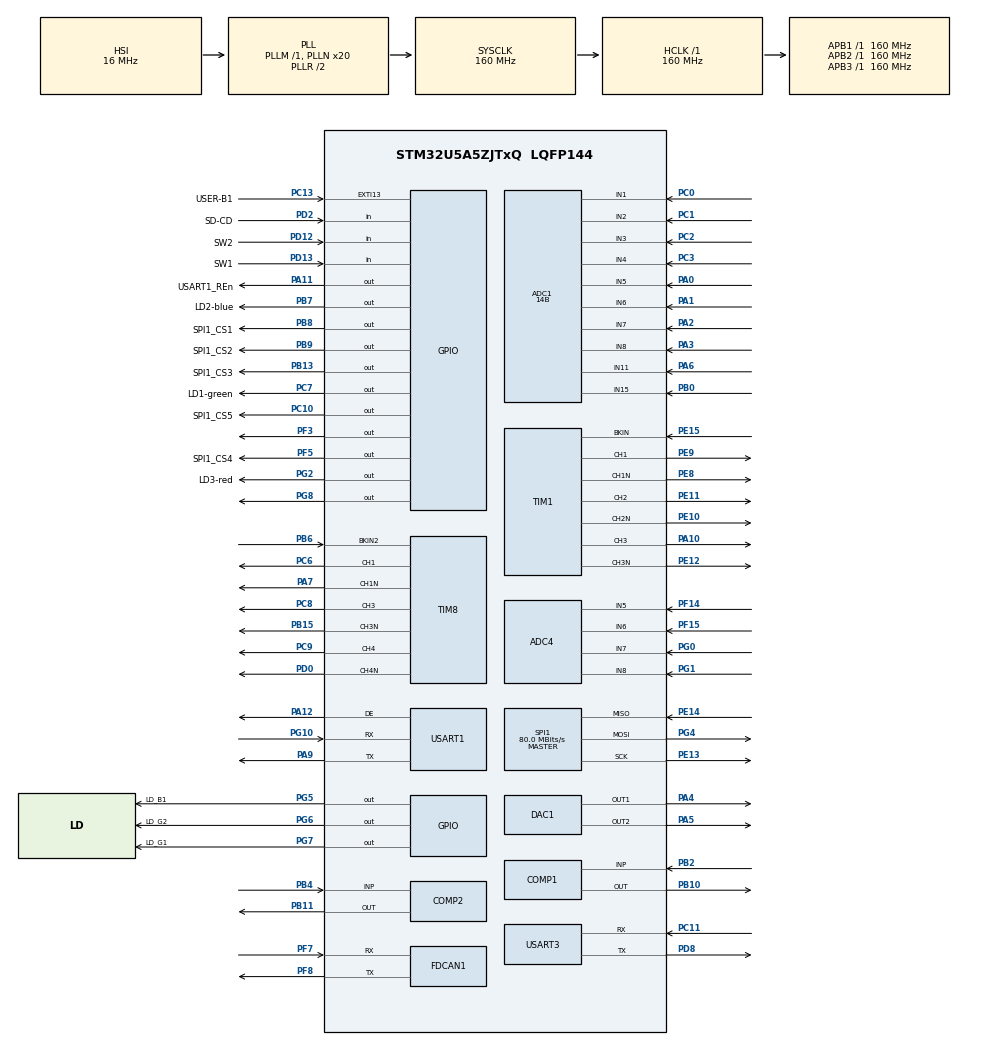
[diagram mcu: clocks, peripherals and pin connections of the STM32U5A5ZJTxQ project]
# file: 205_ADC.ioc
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ADC1.Channel-2\#ChannelRegularConversion=ADC_CHANNEL_1
ADC1.ClockPrescaler=ADC_CLOCK_ASYNC_DIV4
ADC1.ContinuousConvMode=DISABLE
ADC1.ConversionDataManagement=ADC_CONVERSIONDATA_DMA_CIRCULAR
ADC1.EnableInjectedConversion=DISABLE
ADC1.EnableRegularConversion=ENABLE
ADC1.ExternalTrigConv=ADC_EXTERNALTRIG_T3_TRGO
ADC1.MonitoredBy-2\#ChannelRegularConversion=__NULL
ADC1.NbrOfConversionFlag=1
ADC1.OffsetNumber-2\#ChannelRegularConversion=ADC_OFFSET_NONE
ADC1.Rank-2\#ChannelRegularConversion=1
ADC1.Resolution=ADC_RESOLUTION_14B
ADC1.SamplingTime-2\#ChannelRegularConversion=ADC_SAMPLETIME_68CYCLES
ADC1.master=1
ADC4.Channel-0\#ChannelRegularConversion=ADC_CHANNEL_5
ADC4.ClockPrescaler=ADC_CLOCK_ASYNC_DIV4
ADC4.NbrOfConversionFlag=1
ADC4.OffsetNumber-0\#ChannelRegularConversion=ADC_OFFSET_NONE
ADC4.Rank-0\#ChannelRegularConversion=1
ADC4.RankArg-0\#ChannelRegularConversion=ADC4_REGULAR_RANK_1
ADC4.SamplingTime-0\#ChannelRegularConversion=ADC4_SAMPLINGTIME_COMMON_1
ADC4.SelectedChannel=ADC_CHANNEL_5|ADC_CHANNEL_6|ADC_CHANNEL_7|ADC_CHANNEL_8
CORTEX_M33_NS.AccessPermission-Cortex_Memory_Protection_Unit_Region0_Settings=MPU_REGION_PRIV_RO
CORTEX_M33_NS.AccessPermission-Cortex_Memory_Protection_Unit_Region1_Settings=MPU_REGION_ALL_RW
CORTEX_M33_NS.AllocateAttribute0=MPU_R_ALLOCATE
CORTEX_M33_NS.Attributes0=MPU_ATTRIBUTES_NUMBER0
CORTEX_M33_NS.Attributes1=MPU_ATTRIBUTES_NUMBER1
CORTEX_M33_NS.AttributesIndex-Cortex_Memory_Protection_Unit_Region1_Settings=MPU_ATTRIBUTES_NUMBER1
CORTEX_M33_NS.BaseAddress-Cortex_Memory_Protection_Unit_Region0_Settings=0x08000000
CORTEX_M33_NS.BaseAddress-Cortex_Memory_Protection_Unit_Region1_Settings=0x20000000
CORTEX_M33_NS.Enable-Cortex_Memory_Protection_Unit_Region0_Settings=MPU_REGION_ENABLE
CORTEX_M33_NS.Enable-Cortex_Memory_Protection_Unit_Region1_Settings=MPU_REGION_ENABLE
CORTEX_M33_NS.LimitAddress-Cortex_Memory_Protection_Unit_Region0_Settings=0x083FFFFF
CORTEX_M33_NS.LimitAddress-Cortex_Memory_Protection_Unit_Region1_Settings=0x2026FFFF
CORTEX_M33_NS.MPU_Control=MPU_PRIVILEGED_DEFAULT
CORTEX_M33_NS.Memorytype0=MPU_CACHEABLE
CORTEX_M33_NS.Number-Cortex_Memory_Protection_Unit_Region0_Settings=MPU_REGION_NUMBER0
CORTEX_M33_NS.Number-Cortex_Memory_Protection_Unit_Region1_Settings=MPU_REGION_NUMBER1
CORTEX_M33_NS.userName=CORTEX_M33
DAC1.DAC_Channel-DAC_OUT1_ExtAndInt=DAC_CHANNEL_1
DAC1.DAC_Channel-DAC_OUT2_ExtAndInt=DAC_CHANNEL_2
FDCAN1.CalculateBaudRateNominal=3333333
FDCAN1.CalculateTimeBitNominal=300
FDCAN1.CalculateTimeQuantumNominal=100.0
FLASH.B1_BLOCK_active=true
FLASH.B1_endPage=255
FLASH.B2_BLOCK_active=true
FLASH.B2_Bank=FLASH_BANK_2
FLASH.B2_endPage=255
FLASH.OB_Boot_Configuration_active_NS0=true
FLASH.OB_NSBOOTADD0_Address=0x08000000
GPDMA1.CIRCULARMODE_GPDMACH15=ENABLE
GPDMA1.DESTDATAWIDTH_GPDMACH15=DMA_DEST_DATAWIDTH_HALFWORD
GPDMA1.DESTINC_GPDMACH15=DMA_DINC_INCREMENTED
GPDMA1.IPHANDLE_GPDMACH15-SIMPLEREQUEST_GPDMACH15=__NULL
GPDMA1.REQUEST_GPDMACH15=GPDMA1_REQUEST_ADC1
GPDMA1.SRCDATAWIDTH_GPDMACH15=DMA_SRC_DATAWIDTH_HALFWORD
GPDMA1.TRIGGERPOLARITY_GPDMACH15=DMA_TRIG_POLARITY_MASKED
GTZC.MPCBB1_Area_Privilege_Choice=from full Privileged
GTZC.MPCBB1_Area_Privilege_Size=0x000C0000
GTZC.MPCBB1_PrivConfig_array=00000000\:00000000\:00000000\:00000000\:00000000\:00000000\:00000000\:00000000\:00000000\:00000000\:00000000\:00000000\:00000000\:00000000\:00000000\:00000000\:00000000\:00000000\:00000000\:00000000\:00000000\:00000000\:00000000\:00000000\:00000000\:00000000\:00000000\:00000000\:00000000\:00000000\:00000000\:00000000\:00000000\:00000000\:00000000\:00000000\:00000000\:00000000\:00000000\:00000000\:00000000\:00000000\:00000000\:00000000\:00000000\:00000000\:00000000\:00000000
GTZC.MPCBB1_SecConfig_array=00000000\:00000000\:00000000\:00000000\:00000000\:00000000\:00000000\:00000000\:00000000\:00000000\:00000000\:00000000\:00000000\:00000000\:00000000\:00000000\:00000000\:00000000\:00000000\:00000000\:00000000\:00000000\:00000000\:00000000\:00000000\:00000000\:00000000\:00000000\:00000000\:00000000\:00000000\:00000000\:00000000\:00000000\:00000000\:00000000\:00000000\:00000000\:00000000\:00000000\:00000000\:00000000\:00000000\:00000000\:00000000\:00000000\:00000000\:00000000
GTZC.MPCBB2_Area_Privilege_Choice=from full Privileged
GTZC.MPCBB2_Area_Privilege_Size=0x00010000
GTZC.MPCBB2_PrivConfig_array=00000000\:00000000\:00000000\:00000000\:FFFFFFFF\:FFFFFFFF\:FFFFFFFF\:FFFFFFFF\:FFFFFFFF\:FFFFFFFF\:FFFFFFFF\:FFFFFFFF\:FFFFFFFF\:FFFFFFFF\:FFFFFFFF\:FFFFFFFF\:FFFFFFFF\:FFFFFFFF\:FFFFFFFF\:FFFFFFFF\:FFFFFFFF\:FFFFFFFF\:FFFFFFFF\:FFFFFFFF\:FFFFFFFF\:FFFFFFFF\:FFFFFFFF\:FFFFFFFF\:FFFFFFFF\:FFFFFFFF\:FFFFFFFF\:FFFFFFFF\:FFFFFFFF\:FFFFFFFF\:FFFFFFFF\:FFFFFFFF\:FFFFFFFF\:FFFFFFFF\:FFFFFFFF\:FFFFFFFF\:FFFFFFFF\:FFFFFFFF\:FFFFFFFF\:FFFFFFFF\:FFFFFFFF\:FFFFFFFF\:FFFFFFFF\:FFFFFFFF\:FFFFFFFF\:FFFFFFFF\:FFFFFFFF\:FFFFFFFF
GTZC.MPCBB2_SecConfig_array=00000000\:00000000\:00000000\:00000000\:00000000\:00000000\:00000000\:00000000\:00000000\:00000000\:00000000\:00000000\:00000000\:00000000\:00000000\:00000000\:00000000\:00000000\:00000000\:00000000\:00000000\:00000000\:00000000\:00000000\:00000000\:00000000\:00000000\:00000000\:00000000\:00000000\:00000000\:00000000\:00000000\:00000000\:00000000\:00000000\:00000000\:00000000\:00000000\:00000000\:00000000\:00000000\:00000000\:00000000\:00000000\:00000000\:00000000\:00000000\:00000000\:00000000\:00000000\:00000000
GTZC.MPCBB3_Area_Privilege_Choice=from full Privileged
GTZC.MPCBB3_Area_Privilege_Size=0x000D0000
GTZC.MPCBB3_PrivConfig_array=00000000\:00000000\:00000000\:00000000\:00000000\:00000000\:00000000\:00000000\:00000000\:00000000\:00000000\:00000000\:00000000\:00000000\:00000000\:00000000\:00000000\:00000000\:00000000\:00000000\:00000000\:00000000\:00000000\:00000000\:00000000\:00000000\:00000000\:00000000\:00000000\:00000000\:00000000\:00000000\:00000000\:00000000\:00000000\:00000000\:00000000\:00000000\:00000000\:00000000\:00000000\:00000000\:00000000\:00000000\:00000000\:00000000\:00000000\:00000000\:00000000\:00000000\:00000000\:00000000
GTZC.MPCBB3_SecConfig_array=00000000\:00000000\:00000000\:00000000\:00000000\:00000000\:00000000\:00000000\:00000000\:00000000\:00000000\:00000000\:00000000\:00000000\:00000000\:00000000\:00000000\:00000000\:00000000\:00000000\:00000000\:00000000\:00000000\:00000000\:00000000\:00000000\:00000000\:00000000\:00000000\:00000000\:00000000\:00000000\:00000000\:00000000\:00000000\:00000000\:00000000\:00000000\:00000000\:00000000\:00000000\:00000000\:00000000\:00000000\:00000000\:00000000\:00000000\:00000000\:00000000\:00000000\:00000000\:00000000
GTZC.MPCBB4_PrivConfig_array=00000000
GTZC.MPCBB4_SecConfig_array=00000000
GTZC.MPCBB5_Area_Privilege_Choice=from full Privileged
GTZC.MPCBB5_Area_Privilege_Size=0x000D0000
GTZC.MPCBB5_PrivConfig_array=00000000\:00000000\:00000000\:00000000\:00000000\:00000000\:00000000\:00000000\:00000000\:00000000\:00000000\:00000000\:00000000\:00000000\:00000000\:00000000\:00000000\:00000000\:00000000\:00000000\:00000000\:00000000\:00000000\:00000000\:00000000\:00000000\:00000000\:00000000\:00000000\:00000000\:00000000\:00000000\:00000000\:00000000\:00000000\:00000000\:00000000\:00000000\:00000000\:00000000\:00000000\:00000000\:00000000\:00000000\:00000000\:00000000\:00000000\:00000000\:00000000\:00000000\:00000000\:00000000
GTZC.MPCBB5_SecConfig_array=00000000\:00000000\:00000000\:00000000\:00000000\:00000000\:00000000\:00000000\:00000000\:00000000\:00000000\:00000000\:00000000\:00000000\:00000000\:00000000\:00000000\:00000000\:00000000\:00000000\:00000000\:00000000\:00000000\:00000000\:00000000\:00000000\:00000000\:00000000\:00000000\:00000000\:00000000\:00000000\:00000000\:00000000\:00000000\:00000000\:00000000\:00000000\:00000000\:00000000\:00000000\:00000000\:00000000\:00000000\:00000000\:00000000\:00000000\:00000000\:00000000\:00000000\:00000000\:00000000
Mcu.Family=STM32U5
Mcu.Name=STM32U5A5ZJTxQ
Mcu.Package=LQFP144
NVIC.ADC1_2_IRQn=true\:0\:0\:false\:false\:true\:true\:true\:true
NVIC.EXTI13_IRQn=true\:2\:0\:true\:false\:true\:true\:true\:true
NVIC.GPDMA1_Channel15_IRQn=true\:0\:0\:false\:false\:true\:false\:true\:true
NVIC.PriorityGroup=NVIC_PRIORITYGROUP_4
NVIC.TIM3_IRQn=true\:1\:0\:true\:false\:true\:true\:true\:true
PA0.Mode=IN5-Single-Ended
PA0.Signal=ADC1_IN5
PA1.Mode=IN6-Single-Ended
PA1.Signal=ADC1_IN6
PA10.Signal=S_TIM1_CH3
PA11.GPIO_Label=USART1_REn
PA11.Signal=GPIO_Output
PA12.Mode=Hardware Flow Control (RS485)
PA12.Signal=USART1_DE
PA13\ (JTMS/SWDIO).Mode=Trace_Asynchronous_SW
PA13\ (JTMS/SWDIO).Signal=DEBUG_JTMS-SWDIO
PA14\ (JTCK/SWCLK).Mode=Trace_Asynchronous_SW
PA14\ (JTCK/SWCLK).Signal=DEBUG_JTCK-SWCLK
PA2.Mode=IN7-Single-Ended
PA2.Signal=ADC1_IN7
PA3.Mode=IN8-Single-Ended
PA3.Signal=ADC1_IN8
PA4.Signal=COMP_DAC11_group
PA5.Signal=COMP_DAC12_group
PA6.Mode=IN11-Single-Ended
PA6.Signal=ADC1_IN11
PA7.Mode=PWM Generation1 CH1 CH1N
PA7.Signal=TIM8_CH1N
PA9.Mode=Asynchronous
PA9.Signal=USART1_TX
PB0.Mode=IN15-Single-Ended
PB0.Signal=ADC1_IN15
PB10.Mode=ExternalOutput
PB10.Signal=COMP1_OUT
PB11.Mode=ExternalOutput
PB11.Signal=COMP2_OUT
PB13.GPIO_Label=SPI1_CS3
PB13.Signal=GPIO_Output
PB15.Mode=PWM Generation3 CH3 CH3N
PB15.Signal=TIM8_CH3N
PB2.Mode=INP
PB2.Signal=COMP1_INP
PB3\ (JTDO/TRACESWO).Mode=Trace_Asynchronous_SW
PB3\ (JTDO/TRACESWO).Signal=DEBUG_JTDO-SWO
PB4\ (NJTRST).Mode=INP
PB4\ (NJTRST).Signal=COMP2_INP
PB6.Mode=Activate-Break-Input-2
PB6.Signal=TIM8_BKIN2
PB7.GPIO_Label=LD2-blue
PB7.Signal=GPIO_Output
PB8.GPIO_Label=SPI1_CS1
PB8.Signal=GPIO_Output
PB9.GPIO_Label=SPI1_CS2
PB9.Signal=GPIO_Output
PC0.Mode=IN1-Single-Ended
PC0.Signal=ADC1_IN1
PC1.Mode=IN2-Single-Ended
PC1.Signal=ADC1_IN2
PC10.GPIO_Label=SPI1_CS5
PC10.Signal=GPIO_Output
PC11.Mode=Asynchronous
PC11.Signal=USART3_RX
PC13.GPIO_Label=USER-B1
PC13.GPIO_PuPd=GPIO_NOPULL
PC13.Signal=GPXTI13
PC14-OSC32_IN\ (PC14).Mode=LSE-External-Oscillator
PC14-OSC32_IN\ (PC14).Signal=RCC_OSC32_IN
PC15-OSC32_OUT\ (PC15).Mode=LSE-External-Oscillator
PC15-OSC32_OUT\ (PC15).Signal=RCC_OSC32_OUT
PC2.Mode=IN3-Single-Ended
PC2.Signal=ADC1_IN3
PC3.Mode=IN4-Single-Ended
PC3.Signal=ADC1_IN4
PC6.Signal=S_TIM8_CH1
PC7.GPIO_Label=LD1-green
PC7.Signal=GPIO_Output
PC8.Signal=S_TIM8_CH3
PC9.Signal=S_TIM8_CH4
PD0.Mode=PWM Generation4 CH4 CH4N
PD0.Signal=TIM8_CH4N
PD12.GPIO_Label=SW2
PD12.Signal=GPIO_Input
PD13.GPIO_Label=SW1
PD13.Signal=GPIO_Input
PD2.GPIO_Label=SD-CD
PD2.Signal=GPIO_Input
PD8.Mode=Asynchronous
PD8.Signal=USART3_TX
PE10.Mode=PWM Generation2 CH2 CH2N
PE10.Signal=TIM1_CH2N
PE11.Signal=S_TIM1_CH2
PE12.Mode=PWM Generation3 CH3 CH3N
PE12.Signal=TIM1_CH3N
PE13.Mode=Full_Duplex_Master
PE13.Signal=SPI1_SCK
PE14.Mode=Full_Duplex_Master
PE14.Signal=SPI1_MISO
PE15.Mode=Activate-Break-Input
PE15.Signal=TIM1_BKIN
PE8.Mode=PWM Generation1 CH1 CH1N
PE8.Signal=TIM1_CH1N
PE9.Signal=S_TIM1_CH1
PF14.Mode=IN5
PF14.Signal=ADC4_IN5
PF15.Mode=IN6
PF15.Signal=ADC4_IN6
PF3.Signal=GPIO_Output
PF5.GPIO_Label=SPI1_CS4
PF5.Signal=GPIO_Output
PF7.Mode=FDCAN_Activate
PF7.Signal=FDCAN1_RX
PF8.Mode=FDCAN_Activate
PF8.Signal=FDCAN1_TX
PG0.Mode=IN7
PG0.Signal=ADC4_IN7
PG1.Mode=IN8
PG1.Signal=ADC4_IN8
PG10.Mode=Asynchronous
PG10.Signal=USART1_RX
PG2.GPIO_Label=LD3-red
PG2.Signal=GPIO_Output
PG4.Mode=Full_Duplex_Master
PG4.Signal=SPI1_MOSI
PG5.GPIO_Label=LD_B1
PG5.Signal=GPIO_Output
PG6.GPIO_Label=LD_G2
PG6.Signal=GPIO_Output
PG7.GPIO_Label=LD_G1
PG7.Signal=GPIO_Output
PG8.Signal=GPIO_Output
PWR.PowerMode=PWR_SMPS_SUPPLY
ProjectManager.HeapSize=0x2000
ProjectManager.StackSize=0x2000
ProjectManager.TargetToolchain=STM32CubeIDE
RCC.ADCCLockSelection=RCC_ADCDACCLKSOURCE_SYSCLK
RCC.ADCFreq_Value=160000000
RCC.AHBFreq_Value=160000000
RCC.APB1Freq_Value=160000000
RCC.APB1TimFreq_Value=160000000
RCC.APB2Freq_Value=160000000
RCC.APB2TimFreq_Value=160000000
RCC.APB3Freq_Value=160000000
RCC.CortexFreq_Value=160000000
RCC.DACCLockSelectionVirtual=RCC_DAC1CLKSOURCE_LSI
RCC.EPOD_VALUE=16000000
RCC.HCLKFreq_Value=160000000
RCC.HSE_VALUE=16000000
RCC.HSI48_VALUE=48000000
RCC.HSI_VALUE=16000000
RCC.LSIDIV_VALUE=32000
RCC.MSIClockRange=RCC_MSIRANGE_0
RCC.MSI_VALUE=48000000
RCC.PLLFRACN=0
RCC.PLLN=20
RCC.PLLSourceVirtual=RCC_PLLSOURCE_HSI
RCC.SYSCLKFreq_VALUE=160000000
RCC.SYSCLKSource=RCC_SYSCLKSOURCE_PLLCLK
RCC.USBPHYCLockSelection=RCC_USBPHYCLKSOURCE_HSE
RCC.VCOOutputFreq_Value=320000000
SH.COMP_DAC11_group.0=DAC1_OUT1,DAC_OUT1_ExtAndInt
SH.COMP_DAC12_group.0=DAC1_OUT2,DAC_OUT2_ExtAndInt
SH.S_TIM1_CH1.0=TIM1_CH1,PWM Generation1 CH1 CH1N
SH.S_TIM1_CH2.0=TIM1_CH2,PWM Generation2 CH2 CH2N
SH.S_TIM1_CH3.0=TIM1_CH3,PWM Generation3 CH3 CH3N
SH.S_TIM8_CH1.0=TIM8_CH1,PWM Generation1 CH1 CH1N
SH.S_TIM8_CH3.0=TIM8_CH3,PWM Generation3 CH3 CH3N
SH.S_TIM8_CH4.0=TIM8_CH4,PWM Generation4 CH4 CH4N
SPI1.CalculateBaudRate=80.0 MBits/s
SPI1.Direction=SPI_DIRECTION_2LINES
SPI1.Mode=SPI_MODE_MASTER
SPI1.VirtualType=VM_MASTER
STMicroelectronics.X-CUBE-ALGOBUILD.1.4.0.LibraryCcDSPOoLibraryJjDSPOoLibrary=true
TIM1.Channel-PWM\ Generation1\ CH1\ CH1N=TIM_CHANNEL_1
TIM1.Channel-PWM\ Generation2\ CH2\ CH2N=TIM_CHANNEL_2
TIM1.Channel-PWM\ Generation3\ CH3\ CH3N=TIM_CHANNEL_3
TIM1.SourceBRK2COMP1=TIM_BREAKINPUTSOURCE_DISABLE
TIM1.SourceBRKCOMP1=TIM_BREAKINPUTSOURCE_ENABLE
TIM3.PeriodNoDither=100 - 1
TIM3.Prescaler=20 - 1
TIM3.TIM_MasterOutputTrigger=TIM_TRGO_UPDATE
TIM8.AutomaticOutput=TIM_AUTOMATICOUTPUT_DISABLE
TIM8.Channel-PWM\ Generation1\ CH1\ CH1N=TIM_CHANNEL_1
TIM8.Channel-PWM\ Generation3\ CH3\ CH3N=TIM_CHANNEL_3
TIM8.Channel-PWM\ Generation4\ CH4\ CH4N=TIM_CHANNEL_4
TIM8.SourceBRK2COMP2=TIM_BREAKINPUTSOURCE_ENABLE
TIM8.SourceBRKCOMP2=TIM_BREAKINPUTSOURCE_ENABLE
USART1.VirtualMode-Asynchronous=VM_ASYNC
USART1.VirtualMode-Hardware\ Flow\ Control\ (RS485)=VM_ASYNC
USART3.VirtualMode-Asynchronous=VM_ASYNC
VP_COMP1_VS_DACOUT1.Mode=INM_DACOUT1
VP_COMP2_VS_DACOUT2.Mode=INM_DACOUT2
VP_FLASH_SIG_Activate_FlashIP.Mode=Activate_FlashIP
VP_GPDMA1_VS_GPDMACH15.Mode=SIMPLEREQUEST_GPDMACH15
VP_GTZC_VS_GTZC_Enable.Mode=GTZC_Enable
VP_ICACHE_VS_ICACHE.Mode=DirectMappedCache
VP_LPBAMQUEUE_VS_QUEUE.Mode=QUEUEMODE
VP_MEMORYMAP_VS_MEMORYMAP.Mode=CurAppReg
VP_PWR_VS_DBSignals.Mode=DisableDeadBatterySignals
VP_PWR_VS_LPOM.Mode=PowerOptimisation
VP_PWR_VS_SECSignals.Mode=Security/Privilege
VP_PWR_Vdda.Mode=isolationVdda
VP_STMicroelectronics.X-CUBE-ALGOBUILD_VS_DSPOoLibraryJjLibrary_1.4.0_1.4.0.Mode=DSPOoLibraryJjLibrary
VP_TIM1_VS_ClockSourceINT.Mode=Internal
VP_TIM3_VS_ClockSourceINT.Mode=Internal
board=NUCLEO-U5A5ZJ-Q

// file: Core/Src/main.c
/* USER CODE BEGIN Header */
/**
  ******************************************************************************
  * @file           : main.c
  * @brief          : Main program body
  ******************************************************************************
  * @attention
  *
  * In diesem Projekt wird ein simpler ADC mit DMA implementiert (ohne Trigger).
  * Das Spannungssignal wird am CN9 zwischen Pin A5 (+) und GND
  * eingespeist. Der ADC Wert [0] wird auf der SVW Konsole ausgegeben.
  *
  ******************************************************************************
  */
/* USER CODE END Header */
#include "main.h"
#include "adc.h"
#include "comp.h"
#include "dac.h"
#include "fdcan.h"
#include "flash.h"
#include "gpdma.h"
#include "gtzc.h"
#include "icache.h"
#include "spi.h"
#include "tim.h"
#include "usart.h"
#include "gpio.h"

/* USER CODE BEGIN Includes */
// FFT
#include <stdio.h>
#include <stdlib.h>
#include <math.h>
#include "arm_math.h"
#include "complex.h"
#include "fft.h"
/* USER CODE END Includes */

/* USER CODE BEGIN PD */
#define N 65536	// Muss 2^N sein!
/* USER CODE END PD */

/* USER CODE BEGIN PV */
// Globale Variablen
// FFT
int qNr = 1;
float x[N];
Complex c[N];
float aV[N];
// DMA
uint16_t ADC_VAL[N];
float voltage = 0;
/* USER CODE END PV */

void SystemClock_Config(void);
static void SystemPower_Config(void);
static void MPU_Config(void);
/* USER CODE BEGIN PFP */

/*** Funktionen ***/
// Strings auf Konsole Ausgeben
// Benutze printf nur für float Ausgabe!
// Braucht zu viel Stack
void _print(const char *s);
int _write(int file, char *ptr, int len);

// Messwert berechnen
void calc_voltage(float x[], int nS)
{
	for(int i = 0; i < nS; i++)
	{
		voltage = (ADC_VAL[i]/16383.0)*3.3;
		x[i] = voltage;
	}
}

/*** Callbacks ***/

// ADC
// Wird nach jedem DMA Übertrag aufgerufen. Es sind mehrere DMA Überträge nötigt,
// da der DMA max. 2^14 = 16384 Werte pro mal übertragen kann.
void HAL_ADC_ConvCpltCallback(ADC_HandleTypeDef *hadc)
{
	switch (qNr){
	case 1:
        // Erster Viertel übertragen -> zweiter Viertel starten
        HAL_ADC_Stop_DMA(&hadc1);
        HAL_ADC_Start_DMA(&hadc1,(uint32_t*)&ADC_VAL[(1*N)/4], (int)(N/4));
        qNr = 2;
		break;
	case 2:
        // Zweiter Viertel übertragen -> dritter Viertel starten
        HAL_ADC_Stop_DMA(&hadc1);
        HAL_ADC_Start_DMA(&hadc1,(uint32_t*)&ADC_VAL[(2*N)/4], (int)(N/4));
        qNr = 3;
		break;
	case 3:
        // Dritter Viertel übertragen -> Letzer Viertel starten
        HAL_ADC_Stop_DMA(&hadc1);
        HAL_ADC_Start_DMA(&hadc1,(uint32_t*)&ADC_VAL[(3*N)/4], (int)(N/4));
        qNr = 4;
		break;
	case 4:
        // Buffer komplett gefüllt
		HAL_ADC_Stop_DMA(&hadc1);
        HAL_TIM_Base_Stop_IT(&htim3);
        qNr = 5;
		break;
	}
}

// Timer
// Triggert den ADC für eine konstante Abtastfrequenz z.B. 80 kHz
// Nur verwenden wenn Samplingfrequenz überprüft werden muss! Benötigt viel Rechenpower!
void HAL_TIM_PeriodElapsedCallback(TIM_HandleTypeDef *htim)
{
	// PF3 Toggeln
	HAL_GPIO_TogglePin(GPIOF, GPIO_PIN_3);
}

// GPIO
// USER B1
void HAL_GPIO_EXTI_Rising_Callback(uint16_t GPIO_Pin)
{
    // ADC Trigger und DMA starten
    HAL_TIM_Base_Start_IT(&htim3);
    HAL_ADC_Start_DMA(&hadc1, (uint32_t*)&ADC_VAL[0], (int)(N/4));

    // Konsole
    _print("ADC Sampling\r\n");
}
/* USER CODE END PFP */

int main(void)
{

  /* MCU Configuration--------------------------------------------------------*/

  /* MPU Configuration--------------------------------------------------------*/
  MPU_Config();

  /* Reset of all peripherals, Initializes the Flash interface and the Systick. */
  HAL_Init();

  /* Configure the System Power */
  SystemPower_Config();

  /* Configure the system clock */
  SystemClock_Config();
  /* GTZC initialisation */
  MX_GTZC_Init();

  /* Initialize all configured peripherals */
  MX_GPIO_Init();
  MX_GPDMA1_Init();
  MX_ICACHE_Init();
  MX_FLASH_Init();
  MX_ADC1_Init();
  MX_ADC4_Init();
  MX_COMP1_Init();
  MX_COMP2_Init();
  MX_DAC1_Init();
  MX_FDCAN1_Init();
  MX_SPI1_Init();
  MX_TIM1_Init();
  MX_TIM8_Init();
  MX_USART3_UART_Init();
  MX_USART1_UART_Init();
  MX_TIM3_Init();
  /* USER CODE BEGIN 2 */

	// printf()
	_print("Start Monitoringsystem\r\n");
	_print("*****************************\r\n");

  /* USER CODE END 2 */

  /* Infinite loop */
  /* USER CODE BEGIN WHILE */
  while (1)
  {
	  // FFT
	  // Sampling fertig -> FFT
	  if(qNr == 5)
	  {
		  _print("Berechne FFT\r\n");
		  calc_voltage(x, (int)N);
		  make_complex(x, c, (int)N);
		  fft(c, (int)N);
		  scale(c, (int)N);
		  abs_val(c, aV, (int)N);
		  // FFT fertig
		  HAL_GPIO_WritePin(LD1_green_GPIO_Port, LD1_green_Pin, 1);
		  _print("FFT berechnet!\n");
		  _print("*****************************\r\n");
		  // Reset
		  qNr = 1;

	  }

	  // Delay
	  HAL_Delay(200);

    /* USER CODE END WHILE */

  }
}

void SystemClock_Config(void)
{
  RCC_OscInitTypeDef RCC_OscInitStruct = {0};
  RCC_ClkInitTypeDef RCC_ClkInitStruct = {0};

  /** Configure the main internal regulator output voltage
  */
  if (HAL_PWREx_ControlVoltageScaling(PWR_REGULATOR_VOLTAGE_SCALE1) != HAL_OK)
  {
    Error_Handler();
  }

  /** Initializes the CPU, AHB and APB buses clocks
  */
  RCC_OscInitStruct.OscillatorType = RCC_OSCILLATORTYPE_HSI|RCC_OSCILLATORTYPE_LSI;
  RCC_OscInitStruct.HSIState = RCC_HSI_ON;
  RCC_OscInitStruct.HSICalibrationValue = RCC_HSICALIBRATION_DEFAULT;
  RCC_OscInitStruct.LSIState = RCC_LSI_ON;
  RCC_OscInitStruct.LSIDiv = RCC_LSI_DIV1;
  RCC_OscInitStruct.PLL.PLLState = RCC_PLL_ON;
  RCC_OscInitStruct.PLL.PLLSource = RCC_PLLSOURCE_HSI;
  RCC_OscInitStruct.PLL.PLLMBOOST = RCC_PLLMBOOST_DIV1;
  RCC_OscInitStruct.PLL.PLLM = 1;
  RCC_OscInitStruct.PLL.PLLN = 20;
  RCC_OscInitStruct.PLL.PLLP = 2;
  RCC_OscInitStruct.PLL.PLLQ = 2;
  RCC_OscInitStruct.PLL.PLLR = 2;
  RCC_OscInitStruct.PLL.PLLRGE = RCC_PLLVCIRANGE_1;
  RCC_OscInitStruct.PLL.PLLFRACN = 0;
  if (HAL_RCC_OscConfig(&RCC_OscInitStruct) != HAL_OK)
  {
    Error_Handler();
  }

  /** Initializes the CPU, AHB and APB buses clocks
  */
  RCC_ClkInitStruct.ClockType = RCC_CLOCKTYPE_HCLK|RCC_CLOCKTYPE_SYSCLK
                              |RCC_CLOCKTYPE_PCLK1|RCC_CLOCKTYPE_PCLK2
                              |RCC_CLOCKTYPE_PCLK3;
  RCC_ClkInitStruct.SYSCLKSource = RCC_SYSCLKSOURCE_PLLCLK;
  RCC_ClkInitStruct.AHBCLKDivider = RCC_SYSCLK_DIV1;
  RCC_ClkInitStruct.APB1CLKDivider = RCC_HCLK_DIV1;
  RCC_ClkInitStruct.APB2CLKDivider = RCC_HCLK_DIV1;
  RCC_ClkInitStruct.APB3CLKDivider = RCC_HCLK_DIV1;

  if (HAL_RCC_ClockConfig(&RCC_ClkInitStruct, FLASH_LATENCY_4) != HAL_OK)
  {
    Error_Handler();
  }
}

/**
  * @brief Power Configuration
  * @retval None
  */
static void SystemPower_Config(void)
{
  HAL_PWREx_EnableVddIO2();

  /*
   * Disable the internal Pull-Up in Dead Battery pins of UCPD peripheral
   */
  HAL_PWREx_DisableUCPDDeadBattery();

  /*
   * Switch to SMPS regulator instead of LDO
   */
  if (HAL_PWREx_ConfigSupply(PWR_SMPS_SUPPLY) != HAL_OK)
  {
    Error_Handler();
  }
}

/* USER CODE BEGIN 4 */
void _print(const char *s)
{
	_write(0, (char*)s, strlen(s));
}

int _write(int file, char *ptr, int len)
{
  (void)file;
  int DataIdx;

  for (DataIdx = 0; DataIdx < len; DataIdx++)
  {
    ITM_SendChar(*ptr++);
  }
  return len;
}
/* USER CODE END 4 */

 /* MPU Configuration */

void MPU_Config(void)
{
  MPU_Region_InitTypeDef MPU_InitStruct = {0};
  MPU_Attributes_InitTypeDef MPU_AttributesInit = {0};

  /* Disables the MPU */
  HAL_MPU_Disable();

  /** Initializes and configures the Region 0 and the memory to be protected
  */
  MPU_InitStruct.Enable = MPU_REGION_ENABLE;
  MPU_InitStruct.Number = MPU_REGION_NUMBER0;
  MPU_InitStruct.BaseAddress = 0x08000000;
  MPU_InitStruct.LimitAddress = 0x083FFFFF;
  MPU_InitStruct.AttributesIndex = MPU_ATTRIBUTES_NUMBER0;
  MPU_InitStruct.AccessPermission = MPU_REGION_PRIV_RO;
  MPU_InitStruct.DisableExec = MPU_INSTRUCTION_ACCESS_ENABLE;
  MPU_InitStruct.IsShareable = MPU_ACCESS_NOT_SHAREABLE;

  HAL_MPU_ConfigRegion(&MPU_InitStruct);

  /** Initializes and configures the Region 1 and the memory to be protected
  */
  MPU_InitStruct.Number = MPU_REGION_NUMBER1;
  MPU_InitStruct.BaseAddress = 0x20000000;
  MPU_InitStruct.LimitAddress = 0x2026FFFF;
  MPU_InitStruct.AttributesIndex = MPU_ATTRIBUTES_NUMBER1;
  MPU_InitStruct.AccessPermission = MPU_REGION_ALL_RW;

  HAL_MPU_ConfigRegion(&MPU_InitStruct);

  /** Initializes and configures the Attribute 0 and the memory to be protected
  */
  MPU_AttributesInit.Number = MPU_ATTRIBUTES_NUMBER0;
  MPU_AttributesInit.Attributes = INNER_OUTER(MPU_WRITE_THROUGH|MPU_TRANSIENT
                              |MPU_R_ALLOCATE);

  HAL_MPU_ConfigMemoryAttributes(&MPU_AttributesInit);

  /** Initializes and configures the Attribute 1 and the memory to be protected
  */
  MPU_AttributesInit.Number = MPU_ATTRIBUTES_NUMBER1;
  MPU_AttributesInit.Attributes = INNER_OUTER(MPU_NOT_CACHEABLE);

  HAL_MPU_ConfigMemoryAttributes(&MPU_AttributesInit);
  /* Enables the MPU */
  HAL_MPU_Enable(MPU_PRIVILEGED_DEFAULT);

}

void Error_Handler(void)
{
  __disable_irq();
  while (1)
  {
  }
}
